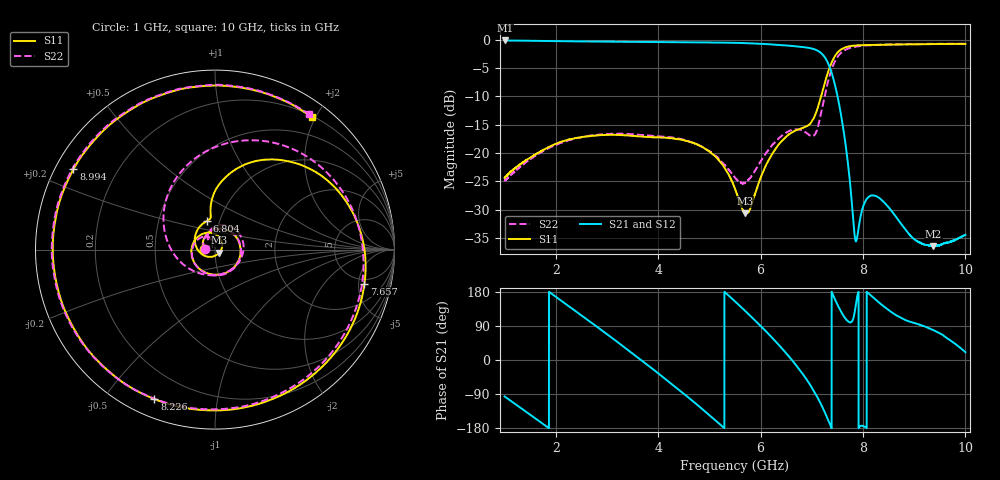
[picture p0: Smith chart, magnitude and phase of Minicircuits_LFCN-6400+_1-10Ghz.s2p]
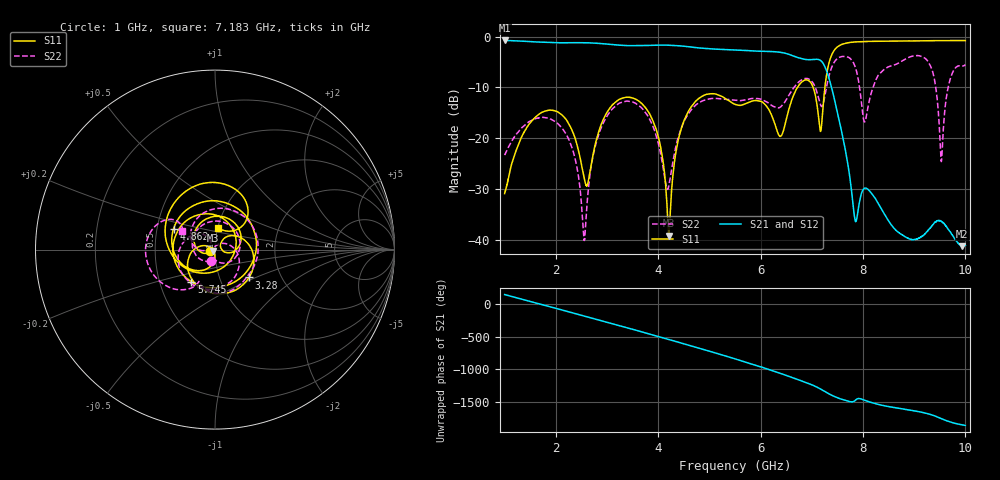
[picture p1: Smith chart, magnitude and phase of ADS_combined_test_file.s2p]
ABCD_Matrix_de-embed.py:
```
import skrf as rf
import numpy as np
import os
import matplotlib.pyplot as plt
from matplotlib.ticker import (MultipleLocator, FormatStrFormatter, AutoMinorLocator)


# ---------------------User Input--------------------------------
# Frequency Range
freq_lower = 1e9
freq_upper = 10e9

# plot attributes
freq_step = 1e9
plt_ylim = [-30, 0]     # y axis limit: 0 to -20dB
plt_ytick = np.arange(-30, 5, 5)
plt_xlim = [freq_lower, freq_upper]
plt_xtick = np.arange(freq_lower, freq_upper+freq_step, freq_step)
plt_title_s_para = 'De-embedded S-Parameter 1; ' + str(int(freq_lower/1e9)) + '-' + str(int(freq_upper/1e9)) + 'Ghz'
plt_title2 = '; CTRL=Low; Port 1 = RF2(RX); Port 2 = RFC(ANT)'
plt_title_s_para = plt_title_s_para + plt_title2
plt_title_smith = 'De-embedded Smith Chart 1; ' + str(int(freq_lower/1e9)) + '-' + str(int(freq_upper/1e9)) + 'Ghz'
plt_title_smith = plt_title_smith + plt_title2
# -----------------------------------------------------------------

# reading file
# TouchStone File Path = Current directory + file name
LFCN_6400_TS_file = os.getcwd() + "\\S Parameter\\Minicircuits_LFCN-6400+_1-10Ghz.s2p"
LFCN_6400_network = rf.Network(LFCN_6400_TS_file)   # open touch stone file

ADS_combined_TS_file = os.getcwd() + "\\S Parameter\\ADS_combined_test_file.s2p"
ADS_combined_network = rf.Network(ADS_combined_TS_file)   # open touch stone file

# change network parameter
LFCN_6400_network.crop(freq_lower, freq_upper, "Hz")   # only use data from 1-6Ghz
LFCN_6400_network.frequency.unit = 'GHz'

ADS_combined_network.crop(freq_lower, freq_upper, "Hz")   # only use data from 1-6Ghz
ADS_combined_network.frequency.unit = 'GHz'

DeEmbedded_network = rf.de_embed(LFCN_6400_network, ADS_combined_network)   # remove LFCN_6400 from combined network

# write to a file in TouchStone Format
DeEmbedded_network.write_touchstone('Python_de-embedded_test_file', os.getcwd() + "\\S Parameter\\")

print()
# # plot data
# fig1, ax1 = plt.subplots(1)
# LFCN_6400_network.plot_s_db(m=0, n=0, label='OU s11', color='r')     # zero indexing; 0 refers to port 1
# LFCN_6400_network.plot_s_db(m=1, n=0, label='OU s21', color='b')     # zero indexing; 0 refers to port 1
# LFCN_6400_network.plot_s_db(m=0, n=1, label='OU s12', color='g')     # zero indexing; 0 refers to port 1
# LFCN_6400_network.plot_s_db(m=1, n=1, label='OU s22', color='y')     # zero indexing; 0 refers to port 1
#
# ADS_combined_network.plot_s_db(m=2, n=2, label='pSemi s11', color='r', linestyle='--')     # zero indexing; 0 refers to port 1
# ADS_combined_network.plot_s_db(m=0, n=2, label='pSemi s21', color='b', linestyle='--')     # zero indexing; 0 refers to port 1
# ADS_combined_network.plot_s_db(m=2, n=0, label='pSemi s12', color='g', linestyle='--')     # zero indexing; 0 refers to port 1
# ADS_combined_network.plot_s_db(m=0, n=0, label='pSemi s22', color='y', linestyle='--')     # zero indexing; 0 refers to port 1
#
# ax1.set_ylim(plt_ylim)
# ax1.yaxis.set_ticks(plt_ytick)
# ax1.set_xlim(plt_xlim)
# ax1.xaxis.set_ticks(plt_xtick)
# ax1.yaxis.set_minor_locator(AutoMinorLocator())      # show minor tick
# ax1.xaxis.set_minor_locator(AutoMinorLocator())      # show minor tick
# ax1.grid(True, which='major', linestyle='-')
# ax1.grid(True, which='minor', linestyle=':')
# ax1.legend(loc='upper left', bbox_to_anchor=(1, 1))  # loc='legend box ref position'
# ax1.set_title(plt_title_s_para)
# fig1.set_size_inches(12, 6)
# plt.subplots_adjust(left=0.1, right=0.8)
# plt.savefig(fname=plt_title_s_para, dpi=300, bbox_inches='tight')
#
# fig1, ax1 = plt.subplots(1)
# LFCN_6400_network.plot_s_smith(m=0, n=0, label='OU s11', color='r')
# LFCN_6400_network.plot_s_smith(m=1, n=1, label='OU s22', color='y')
#
# ADS_combined_network.plot_s_smith(m=2, n=2, label='pSemi s11', color='r', linestyle='--')     # zero indexing; 0 refers to port 1
# ADS_combined_network.plot_s_smith(m=0, n=0, label='pSemi s22', color='y', linestyle='--')     # zero indexing; 0 refers to port 1
#
# ax1.set_title(plt_title_smith)
# ax1.legend(loc='upper left', bbox_to_anchor=(0.9, 0.9))  # loc='legend box ref position'
# fig1.set_size_inches(6, 6)
# plt.savefig(fname=plt_title_smith, dpi=300, bbox_inches='tight')
#
# plt.show()
```
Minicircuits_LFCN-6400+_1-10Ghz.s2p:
# Hz S RI R 50
! CMT, C4220, 17028609, 19.4.3/2
! Date: 4/21/2020 5:27:26 PM
! Data: Format (Calibration Info)
! Freq	S11:Re/Im(F2)	S21:Re/Im(F2)	S12:Re/Im(F2)	S22:Re/Im(F2)
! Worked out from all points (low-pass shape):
!   9001 points, 1 GHz to 10 GHz, reference 50 ohm
!   highest |S21| = -0.16 dB at 1.007 GHz (marker M1); lowest = -36.4 dB at 9.376 GHz (marker M2)
!   |S21| within 3 dB of the highest: start of sweep to 7.257 GHz
!   lowest |S11| = -30.6 dB at 5.697 GHz (marker M3), VSWR 1.06, Z = 52.4 - j1.79 ohm
!   |S11| at or under -10 dB: start of sweep to 7.182 GHz
!   |S22| runs from -25.4 to -0.7 dB; largest |S21 - S12| = 0.0095
!   S11 on the Smith chart (normalised r, x): 1 GHz: 0.89, +0.00; 6.804 GHz: 0.87, +0.29; 7.657 GHz: 4.25, -5.94; 8.226 GHz: 0.08, -0.67; 8.994 GHz: 0.05, +0.26; 10 GHz: 0.22, +1.95
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1e9  -0.0606 0.00161  -0.1078 -0.9753  -0.1057 -0.9749  -0.0572 0.00151
1.007e9  -0.061 0.00233  -0.1193 -0.9742  -0.117 -0.9734  -0.0575 0.00202
3.715e9  -0.0207 -0.1377  0.9487 -0.0842  0.9486 -0.0821  0.00242 -0.1441
5.5e9  0.04 0.0274  -0.8449 0.4002  -0.8461 0.3976  -0.022 0.0568
5.697e9  0.0241 -0.017  -0.5939 0.7151  -0.5981 0.7113  -0.027 0.0476
6.804e9  -0.0445 0.1595  0.7194 -0.4726  0.7189 -0.4718  0.1591 0.00205
7.657e9  0.8329 -0.1889  -0.0404 0.1147  -0.0407 0.1145  0.8058 0.1048
8.226e9  -0.3372 -0.8329  -0.0401 0.013  -0.0402 0.0129  -0.2317 -0.8647
8.994e9  -0.7886 0.4481  -0.00243 0.0174  -0.00246 0.0174  -0.8226 0.3941
9.376e9  -0.3213 0.8533  0.00296 0.0149  0.00295 0.0149  -0.3735 0.8367
1e10  0.5384 0.7388  0.0178 0.00674  0.0178 0.00676  0.5218 0.7549
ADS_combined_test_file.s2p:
! Created Mon Apr 27 22:15:44 2020
# hz S ri R 50
! 2 Port Network Data from SP1.SP block
! freq  reS11  imS11  reS21  imS21  reS12  imS12  reS22  imS22
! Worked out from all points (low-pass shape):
!   9001 points, 1 GHz to 10 GHz, reference 50 ohm
!   highest |S21| = -0.76 dB at 1.007 GHz (marker M1); lowest = -41.3 dB at 9.941 GHz (marker M2)
!   |S21| within 3 dB of the highest: start of sweep to 6.623 GHz
!   lowest |S11| = -39.2 dB at 4.205 GHz (marker M3), VSWR 1.02, Z = 49.1 - j0.536 ohm
!   |S11| at or under -10 dB: start of sweep to 6.72 GHz; 7.026 GHz to 7.256 GHz (229.2 MHz wide, 3.21 % of centre)
!   |S22| runs from -40.2 to -3.7 dB; largest |S21 - S12| = 0.042
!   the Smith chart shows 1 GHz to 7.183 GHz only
!   S11 on the Smith chart (normalised r, x): 1 GHz: 0.95, -0.02; 3.28 GHz: 1.38, -0.46; 4.862 GHz: 0.61, +0.15; 5.745 GHz: 0.72, -0.27; 7.183 GHz: 1.00, +0.25
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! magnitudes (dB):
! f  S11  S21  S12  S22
! 1 GHz  -31.0  -0.8  -0.8  -23.4
! 1.007 GHz  -30.7  -0.8  -0.8  -23.2
! 3.28 GHz  -12.2  -1.7  -1.7  -13.0
! 4.205 GHz  -39.2  -1.7  -1.7  -29.5
! 4.862 GHz  -11.7  -2.3  -2.3  -12.7
! 5.5 GHz  -13.3  -2.7  -2.7  -12.5
! 5.745 GHz  -13.1  -2.8  -2.7  -12.4
! 7.183 GHz  -18.2  -4.8  -4.8  -13.7
! 7.854 GHz  -1.0  -36.4  -36.4  -6.2
! 9.941 GHz  -0.8  -41.3  -41.3  -5.8
! 10 GHz  -0.8  -41.1  -41.1  -5.5
